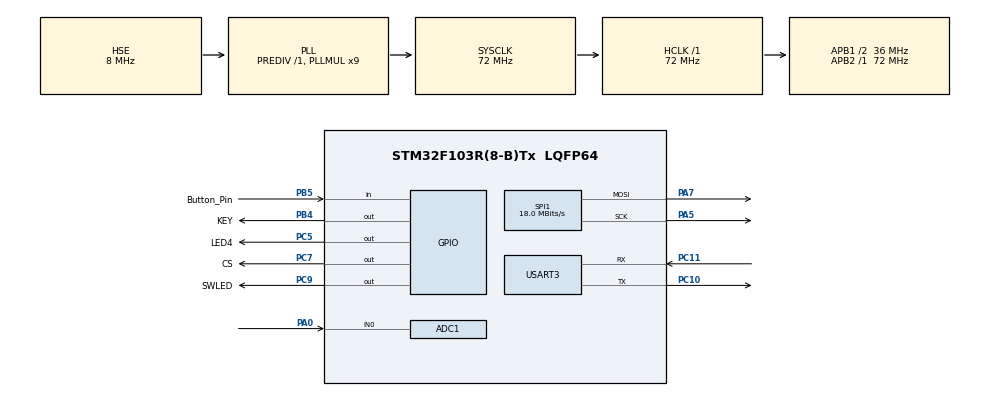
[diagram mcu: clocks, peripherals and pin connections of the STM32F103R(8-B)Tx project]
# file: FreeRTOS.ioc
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ADC1.Channel-0\#ChannelRegularConversion=ADC_CHANNEL_0
ADC1.ExternalTrigConv=ADC_EXTERNALTRIGCONV_T3_TRGO
ADC1.NbrOfConversionFlag=1
ADC1.Rank-0\#ChannelRegularConversion=1
ADC1.SamplingTime-0\#ChannelRegularConversion=ADC_SAMPLETIME_239CYCLES_5
ADC1.master=1
FREERTOS.BinarySemaphores01=xBinarySemaphore,Dynamic,NULL
FREERTOS.HEAP_NUMBER=1
FREERTOS.INCLUDE_vTaskDelayUntil=1
FREERTOS.Tasks01=defaultTask,0,128,StartDefaultTask,Default,NULL,Dynamic,NULL,NULL;buttonHandler,2,128,StartButtonTask,Default,NULL,Dynamic,NULL,NULL;displayTask,0,128,StartDisplayTask,Default,NULL,Dynamic,NULL,NULL;buttonPoller,0,128,StartPollerTask,Default,NULL,Dynamic,NULL,NULL
FREERTOS.configGENERATE_RUN_TIME_STATS=0
FREERTOS.configUSE_STATS_FORMATTING_FUNCTIONS=0
FREERTOS.configUSE_TRACE_FACILITY=0
Mcu.Family=STM32F1
Mcu.Name=STM32F103R(8-B)Tx
Mcu.Package=LQFP64
NVIC.ADC1_2_IRQn=true\:5\:0\:false\:false\:true\:true\:true\:true
NVIC.PriorityGroup=NVIC_PRIORITYGROUP_4
NVIC.TIM4_IRQn=true\:0\:0\:false\:false\:true\:false\:true\:true
NVIC.TimeBase=TIM4_IRQn
NVIC.TimeBaseIP=TIM4
PA0-WKUP.Signal=ADCx_IN0
PA13.Mode=Serial_Wire
PA13.Signal=SYS_JTMS-SWDIO
PA14.Mode=Serial_Wire
PA14.Signal=SYS_JTCK-SWCLK
PA5.Mode=TX_Only_Simplex_Unidirect_Master
PA5.Signal=SPI1_SCK
PA7.Mode=TX_Only_Simplex_Unidirect_Master
PA7.Signal=SPI1_MOSI
PB4.GPIO_Label=KEY
PB4.Signal=GPIO_Output
PB5.GPIO_Label=Button_Pin
PB5.GPIO_PuPd=GPIO_PULLUP
PB5.Signal=GPIO_Input
PC10.Mode=Asynchronous
PC10.Signal=USART3_TX
PC11.Mode=Asynchronous
PC11.Signal=USART3_RX
PC5.GPIO_Label=LED4
PC5.Signal=GPIO_Output
PC7.GPIO_Label=CS
PC7.Signal=GPIO_Output
PC9.GPIO_Label=SWLED
PC9.Signal=GPIO_Output
PD0-OSC_IN.Mode=HSE-External-Oscillator
PD0-OSC_IN.Signal=RCC_OSC_IN
PD1-OSC_OUT.Mode=HSE-External-Oscillator
PD1-OSC_OUT.Signal=RCC_OSC_OUT
ProjectManager.HeapSize=0x200
ProjectManager.StackSize=0x400
ProjectManager.TargetToolchain=Other Toolchains (GPDSC)
RCC.ADCPresc=RCC_ADCPCLK2_DIV8
RCC.AHBFreq_Value=72000000
RCC.APB1CLKDivider=RCC_HCLK_DIV2
RCC.APB1Freq_Value=36000000
RCC.APB1TimFreq_Value=72000000
RCC.APB2Freq_Value=72000000
RCC.APB2TimFreq_Value=72000000
RCC.HCLKFreq_Value=72000000
RCC.PLLMUL=RCC_PLL_MUL9
RCC.PLLSourceVirtual=RCC_PLLSOURCE_HSE
RCC.SYSCLKFreq_VALUE=72000000
RCC.SYSCLKSource=RCC_SYSCLKSOURCE_PLLCLK
RCC.USBFreq_Value=72000000
SH.ADCx_IN0.0=ADC1_IN0,IN0
SPI1.BaudRatePrescaler=SPI_BAUDRATEPRESCALER_4
SPI1.CalculateBaudRate=18.0 MBits/s
SPI1.Direction=SPI_DIRECTION_2LINES
SPI1.Mode=SPI_MODE_MASTER
SPI1.VirtualType=VM_MASTER
TIM3.Period=4999
TIM3.Prescaler=7199
TIM3.TIM_MasterOutputTrigger=TIM_TRGO_UPDATE
USART3.VirtualMode=VM_ASYNC
VP_FREERTOS_VS_CMSIS_V1.Mode=CMSIS_V1
VP_SYS_VS_tim4.Mode=TIM4
VP_TIM3_VS_ClockSourceINT.Mode=Internal
board=custom

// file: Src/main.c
/* USER CODE BEGIN Header */
/**
  ******************************************************************************
  * @file           : main.c
  * @brief          : Main program body
  ******************************************************************************
  * @attention
  *
  * <h2><center>&copy; Copyright (c) 2020 STMicroelectronics.
  * All rights reserved.</center></h2>
  *
  * This software component is licensed by ST under BSD 3-Clause license,
  * the "License"; You may not use this file except in compliance with the
  * License. You may obtain a copy of the License at:
  *                        opensource.org/licenses/BSD-3-Clause
  *
  ******************************************************************************
  */
/* USER CODE END Header */

#include "main.h"
#include "cmsis_os.h"
#include "adc.h"
#include "spi.h"
#include "tim.h"
#include "usart.h"
#include "gpio.h"

/* USER CODE BEGIN Includes */
#include "semphr.h"
/* USER CODE END Includes */

/* USER CODE BEGIN PV */
volatile uint8_t conv_flag = 0;
volatile uint16_t adc_buf = 0;

/* USER CODE END PV */

void SystemClock_Config(void);
void MX_FREERTOS_Init(void);

/* USER CODE BEGIN 0 */

/*Колбэк по завершению преобразования АЦП*/
void HAL_ADC_ConvCpltCallback(ADC_HandleTypeDef* hadc)
{

	if(hadc->Instance == ADC1)
	{
		adc_buf = HAL_ADC_GetValue(&hadc1);
	    conv_flag = 1;
	}

}

/* USER CODE END 0 */

int main(void)
{

  /* MCU Configuration--------------------------------------------------------*/

  /* Reset of all peripherals, Initializes the Flash interface and the Systick. */
  HAL_Init();

  /* Configure the system clock */
  SystemClock_Config();

  /* Initialize all configured peripherals */
  MX_GPIO_Init();
  MX_USART3_UART_Init();
  MX_ADC1_Init();
  MX_TIM3_Init();
  MX_SPI1_Init();
  /* USER CODE BEGIN 2 */
 // HAL_ADCEx_Calibration_Start(&hadc1);
  HAL_ADC_Start_IT(&hadc1);
  HAL_TIM_Base_Start(&htim3);

  indicatorClear();

  /* USER CODE END 2 */

  /* Call init function for freertos objects (in freertos.c) */
  MX_FREERTOS_Init();
  /* Start scheduler */
  osKernelStart();

  /* We should never get here as control is now taken by the scheduler */
  /* Infinite loop */
  while (1)
  {

  }
}

void SystemClock_Config(void)
{
  RCC_OscInitTypeDef RCC_OscInitStruct = {0};
  RCC_ClkInitTypeDef RCC_ClkInitStruct = {0};
  RCC_PeriphCLKInitTypeDef PeriphClkInit = {0};

  /** Initializes the CPU, AHB and APB busses clocks
  */
  RCC_OscInitStruct.OscillatorType = RCC_OSCILLATORTYPE_HSE;
  RCC_OscInitStruct.HSEState = RCC_HSE_ON;
  RCC_OscInitStruct.HSEPredivValue = RCC_HSE_PREDIV_DIV1;
  RCC_OscInitStruct.HSIState = RCC_HSI_ON;
  RCC_OscInitStruct.PLL.PLLState = RCC_PLL_ON;
  RCC_OscInitStruct.PLL.PLLSource = RCC_PLLSOURCE_HSE;
  RCC_OscInitStruct.PLL.PLLMUL = RCC_PLL_MUL9;
  if (HAL_RCC_OscConfig(&RCC_OscInitStruct) != HAL_OK)
  {
    Error_Handler();
  }
  /** Initializes the CPU, AHB and APB busses clocks
  */
  RCC_ClkInitStruct.ClockType = RCC_CLOCKTYPE_HCLK|RCC_CLOCKTYPE_SYSCLK
                              |RCC_CLOCKTYPE_PCLK1|RCC_CLOCKTYPE_PCLK2;
  RCC_ClkInitStruct.SYSCLKSource = RCC_SYSCLKSOURCE_PLLCLK;
  RCC_ClkInitStruct.AHBCLKDivider = RCC_SYSCLK_DIV1;
  RCC_ClkInitStruct.APB1CLKDivider = RCC_HCLK_DIV2;
  RCC_ClkInitStruct.APB2CLKDivider = RCC_HCLK_DIV1;

  if (HAL_RCC_ClockConfig(&RCC_ClkInitStruct, FLASH_LATENCY_2) != HAL_OK)
  {
    Error_Handler();
  }
  PeriphClkInit.PeriphClockSelection = RCC_PERIPHCLK_ADC;
  PeriphClkInit.AdcClockSelection = RCC_ADCPCLK2_DIV8;
  if (HAL_RCCEx_PeriphCLKConfig(&PeriphClkInit) != HAL_OK)
  {
    Error_Handler();
  }
}

 /**
  * @brief  Period elapsed callback in non blocking mode
  * @note   This function is called  when TIM4 interrupt took place, inside
  * HAL_TIM_IRQHandler(). It makes a direct call to HAL_IncTick() to increment
  * a global variable "uwTick" used as application time base.
  * @param  htim : TIM handle
  * @retval None
  */
void HAL_TIM_PeriodElapsedCallback(TIM_HandleTypeDef *htim)
{
  if (htim->Instance == TIM4) {
    HAL_IncTick();
  }
}

void Error_Handler(void)
{
}

/************************ (C) COPYRIGHT STMicroelectronics *****END OF FILE****/

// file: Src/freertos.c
/* USER CODE BEGIN Header */
/**
  ******************************************************************************
  * File Name          : freertos.c
  * Description        : Code for freertos applications
  ******************************************************************************
  * @attention
  *
  * <h2><center>&copy; Copyright (c) 2020 STMicroelectronics.
  * All rights reserved.</center></h2>
  *
  * This software component is licensed by ST under Ultimate Liberty license
  * SLA0044, the "License"; You may not use this file except in compliance with
  * the License. You may obtain a copy of the License at:
  *                             www.st.com/SLA0044
  *
  ******************************************************************************
  */
/* USER CODE END Header */

#include "FreeRTOS.h"
#include "task.h"
#include "main.h"
#include "cmsis_os.h"

/* USER CODE BEGIN Includes */
#include "semphr.h"
/* USER CODE END Includes */

/* USER CODE BEGIN PD */
#include "usart.h"
/* USER CODE END PD */

/* USER CODE BEGIN Variables */
extern volatile uint16_t adc_buf;
extern volatile uint8_t  conv_flag;

/* USER CODE END Variables */
osThreadId defaultTaskHandle;
osThreadId buttonHandlerHandle;
osThreadId displayTaskHandle;
osThreadId buttonPollerHandle;
osSemaphoreId xBinarySemaphoreHandle;

void StartDefaultTask(void const * argument);
void StartButtonTask(void const * argument);
void StartDisplayTask(void const * argument);
void StartPollerTask(void const * argument);

void MX_FREERTOS_Init(void); /* (MISRA C 2004 rule 8.1) */

/* GetIdleTaskMemory prototype (linked to static allocation support) */
void vApplicationGetIdleTaskMemory( StaticTask_t **ppxIdleTaskTCBBuffer, StackType_t **ppxIdleTaskStackBuffer, uint32_t *pulIdleTaskStackSize );

/* USER CODE BEGIN GET_IDLE_TASK_MEMORY */
static StaticTask_t xIdleTaskTCBBuffer;
static StackType_t xIdleStack[configMINIMAL_STACK_SIZE];

void vApplicationGetIdleTaskMemory( StaticTask_t **ppxIdleTaskTCBBuffer, StackType_t **ppxIdleTaskStackBuffer, uint32_t *pulIdleTaskStackSize )
{
  *ppxIdleTaskTCBBuffer = &xIdleTaskTCBBuffer;
  *ppxIdleTaskStackBuffer = &xIdleStack[0];
  *pulIdleTaskStackSize = configMINIMAL_STACK_SIZE;
  /* place for user code */
}
/* USER CODE END GET_IDLE_TASK_MEMORY */

void MX_FREERTOS_Init(void) {

  /* Create the semaphores(s) */
  /* definition and creation of xBinarySemaphore */
  osSemaphoreDef(xBinarySemaphore);
  xBinarySemaphoreHandle = osSemaphoreCreate(osSemaphore(xBinarySemaphore), 1);

  /* Create the thread(s) */
  /* definition and creation of defaultTask */
  osThreadDef(defaultTask, StartDefaultTask, osPriorityNormal, 0, 128);
  defaultTaskHandle = osThreadCreate(osThread(defaultTask), NULL);

  /* definition and creation of buttonHandler */
  osThreadDef(buttonHandler, StartButtonTask, osPriorityHigh, 0, 128);
  buttonHandlerHandle = osThreadCreate(osThread(buttonHandler), NULL);

  /* definition and creation of displayTask */
  osThreadDef(displayTask, StartDisplayTask, osPriorityNormal, 0, 128);
  displayTaskHandle = osThreadCreate(osThread(displayTask), NULL);

  /* definition and creation of buttonPoller */
  osThreadDef(buttonPoller, StartPollerTask, osPriorityNormal, 0, 128);
  buttonPollerHandle = osThreadCreate(osThread(buttonPoller), NULL);

}

void StartDefaultTask(void const * argument)
{
  /* USER CODE BEGIN StartDefaultTask */
  /* Infinite loop */
  for(;;)
  {
	HAL_GPIO_TogglePin(LED4_GPIO_Port,LED4_Pin);
    osDelay(500);
  }
	vTaskDelete(NULL);
  /* USER CODE END StartDefaultTask */
}

/* USER CODE BEGIN Header_StartButtonTask */
/**
* @brief Function implementing the buttonTask thread.
* @param argument: Not used
* @retval None
*/
/*Задача 1 - обработка нажатия кнопки*/
/* USER CODE END Header_StartButtonTask */
void StartButtonTask(void const * argument)
{
  /* USER CODE BEGIN StartButtonTask */

	osSemaphoreWait(xBinarySemaphoreHandle, osWaitForever);
  /* Infinite loop */
  for(;;)
  {
			osSemaphoreWait(xBinarySemaphoreHandle, osWaitForever);
			HAL_UART_Transmit(&huart3,(uint8_t*)"Semaphore2!\n",12,1000);

			taskENTER_CRITICAL();/*Критическая секция выполняемого кода*/
			HAL_GPIO_TogglePin(SWLED_GPIO_Port,SWLED_Pin);
			HAL_UART_Transmit(&huart3,(uint8_t*)"ATTENTION!\n",11,1000);
			taskEXIT_CRITICAL();
  }
	vTaskDelete(NULL);
  /* USER CODE END StartButtonTask */
}

/* USER CODE BEGIN Header_StartDisplayTask */
/**
* @brief Function implementing the displayTask thread.
* @param argument: Not used
* @retval None
*/
/*Задача 2 - обработка результата преобразования и его отправка на индикатор*/

/* USER CODE END Header_StartDisplayTask */
void StartDisplayTask(void const * argument)
{
  /* USER CODE BEGIN StartDisplayTask */
	float adcVoltage = 0;
	const static float adcStep = 3.27/4096;/*vdd/2^12*/
	char adcStrVoltage[16];
	portTickType xLastWakeTime;
	xLastWakeTime = xTaskGetTickCount();
  /* Infinite loop */
  for(;;)
  {
    if (conv_flag == 1)
		{
			adcVoltage = adcStep * (float)adc_buf;
			displayFloat(adcVoltage,3,1);
			//snprintf(adcStrVoltage,sizeof(adcStrVoltage),"CH1: %.3f V\n",adcVoltage);
			//HAL_UART_Transmit(&huart3,(uint8_t*)adcStrVoltage,strlen(adcStrVoltage),1000);
			conv_flag = 0;
			osDelayUntil(&xLastWakeTime,200/portTICK_RATE_MS);/*Период опроса - 200 мс*/
		}
  }
	vTaskDelete(NULL);
  /* USER CODE END StartDisplayTask */
}

/* USER CODE BEGIN Header_StartPollerTask */
/**
* @brief Function implementing the buttonPoller thread.
* @param argument: Not used
* @retval None
*/
/*Задача 3 - опрос порта GPIO, на котором висит кнопка*/
/* USER CODE END Header_StartPollerTask */
void StartPollerTask(void const * argument)
{
  /* USER CODE BEGIN StartPollerTask */
	uint8_t flag = 1;
	portTickType press_time = 0;

  /* Infinite loop */
  for(;;)
  {
		if(HAL_GPIO_ReadPin(Button_Pin_GPIO_Port, Button_Pin_Pin) == GPIO_PIN_RESET && flag)
		{
			flag = 0;
			press_time = xTaskGetTickCount();
		}
		if(!flag && (xTaskGetTickCount() - press_time) > 300)
		{
			flag = 1;
			xSemaphoreGive(xBinarySemaphoreHandle);/*Если кнопка нажата более чем 300 мс, то отдаём семафор*/
		}
  }
  /* USER CODE END StartPollerTask */
}

/************************ (C) COPYRIGHT STMicroelectronics *****END OF FILE****/
